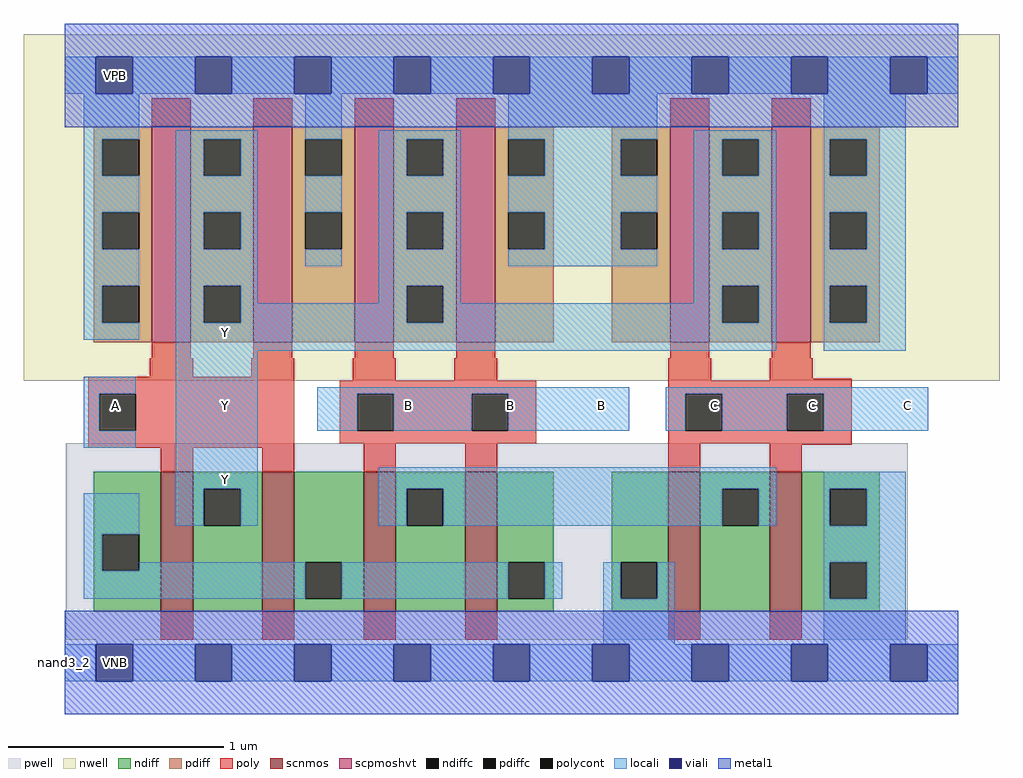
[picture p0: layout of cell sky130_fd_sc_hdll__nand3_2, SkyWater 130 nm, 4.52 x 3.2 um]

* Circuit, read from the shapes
.subckt sky130_fd_sc_hdll__nand3_2 A B C VGND VNB VPB VPWR Y
XM1 Y A n1 VNB sky130_fd_pr__nfet_01v8 w=0.65 l=0.15 m=2
XM2 n2 B n1 VNB sky130_fd_pr__nfet_01v8 w=0.65 l=0.15 m=2
XM3 n2 C VGND VNB sky130_fd_pr__nfet_01v8 w=0.65 l=0.15 m=2
XM4 Y A VPWR VPB sky130_fd_pr__pfet_01v8_hvt w=1 l=0.18 m=2
XM5 Y B VPWR VPB sky130_fd_pr__pfet_01v8_hvt w=1 l=0.18 m=2
XM6 Y C VPWR VPB sky130_fd_pr__pfet_01v8_hvt w=1 l=0.18 m=2
.ends

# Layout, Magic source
magic
tech sky130A
magscale 1 2
<< nwell >>
rect -38 261 866 582
<< pwell >>
rect 1 21 781 203
rect 30 -17 64 21
<< scnmos >>
rect 89 47 119 177
rect 183 47 213 177
rect 277 47 307 177
rect 371 47 401 177
rect 559 47 589 177
rect 653 47 683 177
<< scpmoshvt >>
rect 81 297 117 497
rect 175 297 211 497
rect 269 297 305 497
rect 363 297 399 497
rect 561 297 597 497
rect 655 297 691 497
<< ndiff >>
rect 27 119 89 177
rect 27 85 35 119
rect 69 85 89 119
rect 27 47 89 85
rect 119 161 183 177
rect 119 127 129 161
rect 163 127 183 161
rect 119 47 183 127
rect 213 93 277 177
rect 213 59 223 93
rect 257 59 277 93
rect 213 47 277 59
rect 307 161 371 177
rect 307 127 317 161
rect 351 127 371 161
rect 307 47 371 127
rect 401 93 453 177
rect 401 59 411 93
rect 445 59 453 93
rect 401 47 453 59
rect 507 93 559 177
rect 507 59 515 93
rect 549 59 559 93
rect 507 47 559 59
rect 589 161 653 177
rect 589 127 609 161
rect 643 127 653 161
rect 589 47 653 127
rect 683 161 755 177
rect 683 127 709 161
rect 743 127 755 161
rect 683 93 755 127
rect 683 59 709 93
rect 743 59 755 93
rect 683 47 755 59
<< pdiff >>
rect 27 485 81 497
rect 27 451 35 485
rect 69 451 81 485
rect 27 417 81 451
rect 27 383 35 417
rect 69 383 81 417
rect 27 349 81 383
rect 27 315 35 349
rect 69 315 81 349
rect 27 297 81 315
rect 117 485 175 497
rect 117 451 129 485
rect 163 451 175 485
rect 117 417 175 451
rect 117 383 129 417
rect 163 383 175 417
rect 117 349 175 383
rect 117 315 129 349
rect 163 315 175 349
rect 117 297 175 315
rect 211 485 269 497
rect 211 451 223 485
rect 257 451 269 485
rect 211 417 269 451
rect 211 383 223 417
rect 257 383 269 417
rect 211 297 269 383
rect 305 485 363 497
rect 305 451 317 485
rect 351 451 363 485
rect 305 417 363 451
rect 305 383 317 417
rect 351 383 363 417
rect 305 349 363 383
rect 305 315 317 349
rect 351 315 363 349
rect 305 297 363 315
rect 399 485 453 497
rect 399 451 411 485
rect 445 451 453 485
rect 399 417 453 451
rect 399 383 411 417
rect 445 383 453 417
rect 399 297 453 383
rect 507 485 561 497
rect 507 451 515 485
rect 549 451 561 485
rect 507 417 561 451
rect 507 383 515 417
rect 549 383 561 417
rect 507 297 561 383
rect 597 485 655 497
rect 597 451 609 485
rect 643 451 655 485
rect 597 417 655 451
rect 597 383 609 417
rect 643 383 655 417
rect 597 349 655 383
rect 597 315 609 349
rect 643 315 655 349
rect 597 297 655 315
rect 691 485 755 497
rect 691 451 709 485
rect 743 451 755 485
rect 691 417 755 451
rect 691 383 709 417
rect 743 383 755 417
rect 691 349 755 383
rect 691 315 709 349
rect 743 315 755 349
rect 691 297 755 315
<< ndiffc >>
rect 35 85 69 119
rect 129 127 163 161
rect 223 59 257 93
rect 317 127 351 161
rect 411 59 445 93
rect 515 59 549 93
rect 609 127 643 161
rect 709 127 743 161
rect 709 59 743 93
<< pdiffc >>
rect 35 451 69 485
rect 35 383 69 417
rect 35 315 69 349
rect 129 451 163 485
rect 129 383 163 417
rect 129 315 163 349
rect 223 451 257 485
rect 223 383 257 417
rect 317 451 351 485
rect 317 383 351 417
rect 317 315 351 349
rect 411 451 445 485
rect 411 383 445 417
rect 515 451 549 485
rect 515 383 549 417
rect 609 451 643 485
rect 609 383 643 417
rect 609 315 643 349
rect 709 451 743 485
rect 709 383 743 417
rect 709 315 743 349
<< poly >>
rect 81 497 117 523
rect 175 497 211 523
rect 269 497 305 523
rect 363 497 399 523
rect 561 497 597 523
rect 655 497 691 523
rect 81 282 117 297
rect 175 282 211 297
rect 269 282 305 297
rect 363 282 399 297
rect 561 282 597 297
rect 655 282 691 297
rect 79 265 119 282
rect 173 265 213 282
rect 22 249 213 265
rect 267 261 307 282
rect 361 261 401 282
rect 559 261 599 282
rect 653 263 693 282
rect 653 261 729 263
rect 22 215 32 249
rect 66 215 213 249
rect 22 199 213 215
rect 255 249 437 261
rect 255 215 271 249
rect 305 215 377 249
rect 411 215 437 249
rect 255 203 437 215
rect 559 249 729 261
rect 559 215 575 249
rect 609 215 669 249
rect 703 215 729 249
rect 559 203 729 215
rect 89 177 119 199
rect 183 177 213 199
rect 277 177 307 203
rect 371 177 401 203
rect 559 177 589 203
rect 653 202 729 203
rect 653 177 683 202
rect 89 21 119 47
rect 183 21 213 47
rect 277 21 307 47
rect 371 21 401 47
rect 559 21 589 47
rect 653 21 683 47
<< polycont >>
rect 32 215 66 249
rect 271 215 305 249
rect 377 215 411 249
rect 575 215 609 249
rect 669 215 703 249
<< locali >>
rect 0 527 29 561
rect 63 527 121 561
rect 155 527 213 561
rect 247 527 305 561
rect 339 527 397 561
rect 431 527 489 561
rect 523 527 581 561
rect 615 527 673 561
rect 707 527 765 561
rect 799 527 828 561
rect 18 485 69 527
rect 18 451 35 485
rect 18 417 69 451
rect 18 383 35 417
rect 18 349 69 383
rect 18 315 35 349
rect 18 299 69 315
rect 103 485 179 493
rect 103 451 129 485
rect 163 451 179 485
rect 103 417 179 451
rect 103 383 129 417
rect 163 383 179 417
rect 103 349 179 383
rect 223 485 257 527
rect 223 417 257 451
rect 223 367 257 383
rect 291 485 367 493
rect 291 451 317 485
rect 351 451 367 485
rect 291 417 367 451
rect 291 383 317 417
rect 351 383 367 417
rect 103 315 129 349
rect 163 333 179 349
rect 291 349 367 383
rect 411 485 549 527
rect 445 451 515 485
rect 411 417 549 451
rect 445 383 515 417
rect 411 367 549 383
rect 583 485 659 493
rect 583 451 609 485
rect 643 451 659 485
rect 583 417 659 451
rect 583 383 609 417
rect 643 383 659 417
rect 291 333 317 349
rect 163 315 317 333
rect 351 333 367 349
rect 583 349 659 383
rect 583 333 609 349
rect 351 315 609 333
rect 643 315 659 349
rect 103 289 659 315
rect 703 485 779 527
rect 703 451 709 485
rect 743 451 779 485
rect 703 417 779 451
rect 703 383 709 417
rect 743 383 779 417
rect 703 349 779 383
rect 703 315 709 349
rect 743 315 779 349
rect 703 289 779 315
rect 18 249 66 265
rect 18 215 32 249
rect 18 199 66 215
rect 103 161 179 289
rect 234 249 523 255
rect 234 215 271 249
rect 305 215 377 249
rect 411 215 523 249
rect 557 249 800 255
rect 557 215 575 249
rect 609 215 669 249
rect 703 215 800 249
rect 18 119 69 157
rect 103 127 129 161
rect 163 127 179 161
rect 291 161 659 181
rect 291 127 317 161
rect 351 127 609 161
rect 643 127 659 161
rect 703 161 779 177
rect 703 127 709 161
rect 743 127 779 161
rect 18 85 35 119
rect 703 93 779 127
rect 69 85 223 93
rect 18 59 223 85
rect 257 59 411 93
rect 445 59 461 93
rect 499 59 515 93
rect 549 59 565 93
rect 499 17 565 59
rect 703 59 709 93
rect 743 59 779 93
rect 703 17 779 59
rect 0 -17 29 17
rect 63 -17 121 17
rect 155 -17 213 17
rect 247 -17 305 17
rect 339 -17 397 17
rect 431 -17 489 17
rect 523 -17 581 17
rect 615 -17 673 17
rect 707 -17 765 17
rect 799 -17 828 17
<< viali >>
rect 29 527 63 561
rect 121 527 155 561
rect 213 527 247 561
rect 305 527 339 561
rect 397 527 431 561
rect 489 527 523 561
rect 581 527 615 561
rect 673 527 707 561
rect 765 527 799 561
rect 29 -17 63 17
rect 121 -17 155 17
rect 213 -17 247 17
rect 305 -17 339 17
rect 397 -17 431 17
rect 489 -17 523 17
rect 581 -17 615 17
rect 673 -17 707 17
rect 765 -17 799 17
<< metal1 >>
rect 0 561 828 592
rect 0 527 29 561
rect 63 527 121 561
rect 155 527 213 561
rect 247 527 305 561
rect 339 527 397 561
rect 431 527 489 561
rect 523 527 581 561
rect 615 527 673 561
rect 707 527 765 561
rect 799 527 828 561
rect 0 496 828 527
rect 0 17 828 48
rect 0 -17 29 17
rect 63 -17 121 17
rect 155 -17 213 17
rect 247 -17 305 17
rect 339 -17 397 17
rect 431 -17 489 17
rect 523 -17 581 17
rect 615 -17 673 17
rect 707 -17 765 17
rect 799 -17 828 17
rect 0 -48 828 -17
<< labels >>
flabel locali s 30 221 64 255 0 FreeSans 250 0 0 0 A
port 1 nsew signal input
flabel locali s 132 153 166 187 0 FreeSans 250 0 0 0 Y
port 8 nsew signal output
flabel locali s 132 221 166 255 0 FreeSans 250 0 0 0 Y
port 8 nsew signal output
flabel locali s 132 289 166 323 0 FreeSans 250 0 0 0 Y
port 8 nsew signal output
flabel locali s 480 221 514 255 0 FreeSans 250 0 0 0 B
port 2 nsew signal input
flabel locali s 302 221 336 255 0 FreeSans 250 0 0 0 B
port 2 nsew signal input
flabel locali s 396 221 430 255 0 FreeSans 250 0 0 0 B
port 2 nsew signal input
flabel locali s 676 221 710 255 0 FreeSans 250 0 0 0 C
port 3 nsew signal input
flabel locali s 585 221 619 255 0 FreeSans 250 0 0 0 C
port 3 nsew signal input
flabel locali s 764 221 798 255 0 FreeSans 250 0 0 0 C
port 3 nsew signal input
flabel pwell s 30 -17 64 17 0 FreeSans 200 0 0 0 VNB
port 5 nsew ground bidirectional
flabel nwell s 30 527 64 561 0 FreeSans 200 0 0 0 VPB
port 6 nsew power bidirectional
flabel metal1 s 30 -17 64 17 0 FreeSans 200 0 0 0 VGND
port 4 nsew ground bidirectional
flabel metal1 s 30 527 64 561 0 FreeSans 200 0 0 0 VPWR
port 7 nsew power bidirectional
rlabel comment s 0 0 0 0 4 nand3_2
<< properties >>
string LEFsite unithd
string LEFclass CORE
string FIXED_BBOX 0 0 828 544
string GDS_FILE $PDKPATH/libs.ref/sky130_fd_sc_hdll/gds/sky130_fd_sc_hdll.gds
string LEFsymmetry X Y R90
string GDS_END 629094
string GDS_START 621516
string LEFproperties maskLayoutSubType "abstract" prCellType "standard" originalViewName "layout"
<< end >>
